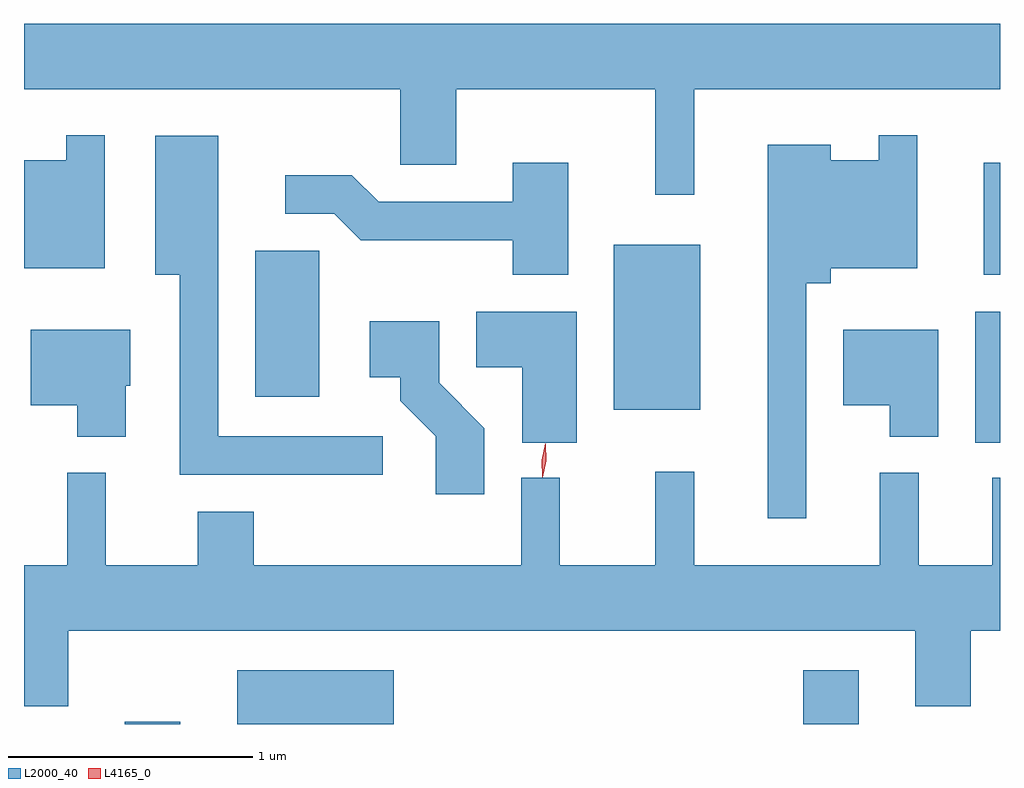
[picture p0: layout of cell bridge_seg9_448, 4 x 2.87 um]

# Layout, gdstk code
import gdstk
lib = gdstk.Library(unit=1e-6, precision=1e-09)
def R(c, l, rs):  # rectangles x0, y0, x1, y1
    for r in rs: c.add(gdstk.rectangle(r[:2], r[2:], *l))
def P(c, l, *ps):  # polygons
    for p in ps: c.add(gdstk.Polygon(p, *l))
L2000_40 = (2000, 40)
L4165_0 = (4165, 0)

bridge_seg9_448 = lib.new_cell('bridge_seg9_448')
R(bridge_seg9_448, L2000_40, [(437.871,1991.433,438.099,1991.444), (438.331,1991.433,438.974,1991.654), (440.651,1991.433,440.879,1991.654), (441.356,1992.586,441.458,1993.124), (439.876,1992.721,440.229,1993.399), (438.406,1992.776,438.669,1993.374), (441.391,1993.276,441.458,1993.734)])
P(bridge_seg9_448, L2000_40, [(440.204,1994.036),(441.458,1994.036),(441.458,1994.304),(437.458,1994.304),(437.458,1994.036),(439.001,1994.036),(439.001,1993.726),(439.229,1993.726),(439.229,1994.036),(440.046,1994.036),(440.046,1993.603),(440.204,1993.603)],
  [(437.789,1993.848),(437.631,1993.848),(437.631,1993.744),(437.458,1993.744),(437.458,1993.301),(437.789,1993.301)],
  [(440.664,1993.241),(440.764,1993.241),(440.764,1993.301),(441.119,1993.301),(441.119,1993.848),(440.961,1993.848),(440.961,1993.744),(440.764,1993.744),(440.764,1993.809),(440.506,1993.809),(440.506,1992.278),(440.664,1992.278)],
  [(438.928,1992.614),(438.254,1992.614),(438.254,1993.844),(437.996,1993.844),(437.996,1993.276),(438.096,1993.276),(438.096,1992.456),(438.928,1992.456)],
  [(439.689,1993.734),(439.461,1993.734),(439.461,1993.574),(438.912,1993.574),(438.802,1993.684),(438.528,1993.684),(438.528,1993.526),(438.729,1993.526),(438.839,1993.416),(439.461,1993.416),(439.461,1993.276),(439.689,1993.276)],
  [(439.724,1993.124),(439.311,1993.124),(439.311,1992.896),(439.501,1992.896),(439.501,1992.586),(439.724,1992.586)],
  [(439.344,1992.647),(439.159,1992.832),(439.159,1993.084),(438.876,1993.084),(438.876,1992.856),(439.001,1992.856),(439.001,1992.759),(439.146,1992.614),(439.146,1992.376),(439.344,1992.376)],
  [(437.874,1992.821),(437.894,1992.821),(437.894,1993.049),(437.486,1993.049),(437.486,1992.741),(437.676,1992.741),(437.676,1992.611),(437.874,1992.611)],
  [(441.204,1993.049),(440.816,1993.049),(440.816,1992.741),(441.006,1992.741),(441.006,1992.611),(441.204,1992.611)],
  [(437.639,1991.816),(441.111,1991.816),(441.111,1991.506),(441.339,1991.506),(441.339,1991.816),(441.458,1991.816),(441.458,1992.443),(441.426,1992.443),(441.426,1992.084),(441.124,1992.084),(441.124,1992.463),(440.966,1992.463),(440.966,1992.084),(440.204,1992.084),(440.204,1992.468),(440.046,1992.468),(440.046,1992.084),(439.654,1992.084),(439.654,1992.443),(439.496,1992.443),(439.496,1992.084),(438.399,1992.084),(438.399,1992.304),(438.171,1992.304),(438.171,1992.084),(437.794,1992.084),(437.794,1992.463),(437.636,1992.463),(437.636,1992.084),(437.458,1992.084),(437.458,1991.506),(437.639,1991.506)])
P(bridge_seg9_448, L4165_0, [(439.582,1992.445),(439.579,1992.514),(439.595,1992.582),(439.596,1992.582),(439.596,1992.582),(439.599,1992.513),(439.583,1992.445),(439.583,1992.445)])

lib.write_gds('bridge_seg9_448.gds')
